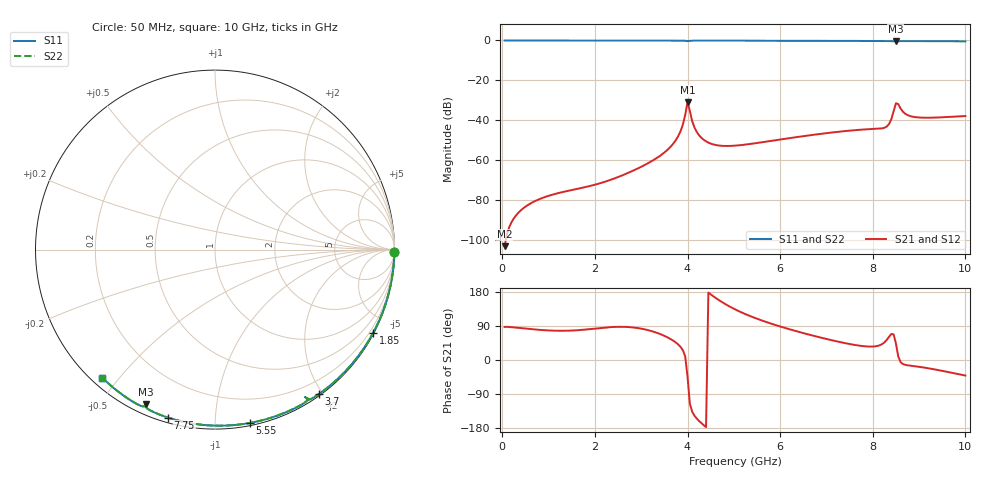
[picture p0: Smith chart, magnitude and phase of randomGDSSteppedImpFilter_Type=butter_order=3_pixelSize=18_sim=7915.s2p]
! freq	dB(S11)	phase(S11)	dB(S12)	phase(S12)
!  dB(S21)	phase(S21)	dB(S22)	phase(S22)
!S-par simulation data
#  GHz  S  DB  R 50
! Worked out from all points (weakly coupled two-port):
!   200 points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, 50 MHz to 10 GHz, reference 50 ohm
!   highest |S21| = -30.91 dB at 4 GHz (marker M1); lowest = -103.1 dB at 50 MHz (marker M2)
!   lowest |S11| = -0.5 dB at 8.5 GHz (marker M3), VSWR 35.44, Z = 2 - j32.4 ohm
!   |S11| at or under -10 dB: nowhere
!   |S22| runs from -0.5 to 0.0 dB; largest |S21 - S12| = 0
!   S11 on the Smith chart (normalised r, x): 50 MHz: open; 1.85 GHz: 0.04, -4.06; 3.7 GHz: 0.02, -1.95; 5.55 GHz: 0.02, -1.22; 7.75 GHz: 0.02, -0.76; 10 GHz: 0.03, -0.45
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0.05  -0.00 -0.7  -103.09 87.3  -103.09 87.3  -0.01 -0.7
0.75  -0.01 -11.3  -80.03 80.0  -80.03 80.0  -0.01 -11.3
1.75  -0.03 -26.2  -73.71 79.8  -73.71 79.8  -0.03 -26.2
1.85  -0.04 -27.7  -73.17 81.0  -73.17 81.0  -0.04 -27.7
2.6  -0.05 -38.6  -67.54 87.6  -67.54 87.6  -0.05 -38.6
3.4  -0.07 -50.0  -57.94 69.0  -57.94 69.0  -0.07 -50.0
3.7  -0.08 -54.2  -51.45 50.2  -51.45 50.2  -0.08 -54.2
3.9  -0.10 -57.3  -42.15 25.8  -42.15 25.8  -0.10 -57.3
4  -0.34 -58.6  -30.91 -44.2  -30.91 -44.2  -0.34 -58.6
4.15  -0.10 -59.8  -43.63 -147.0  -43.63 -147.0  -0.10 -59.8
4.3  -0.09 -62.0  -48.80 -166.7  -48.80 -166.7  -0.09 -62.0
4.65  -0.10 -66.8  -52.59 160.2  -52.59 160.2  -0.10 -66.8
5.05  -0.11 -72.1  -52.67 132.2  -52.67 132.2  -0.11 -72.1
5.55  -0.13 -78.6  -51.23 106.7  -51.23 106.7  -0.13 -78.6
6.7  -0.18 -93.0  -47.33 64.6  -47.33 64.6  -0.18 -93.0
7.75  -0.25 -105.6  -44.71 37.2  -44.71 37.2  -0.25 -105.6
8.2  -0.29 -111.0  -44.06 41.9  -44.06 41.9  -0.29 -111.0
8.35  -0.32 -112.9  -41.93 61.0  -41.93 61.0  -0.32 -112.9
8.5  -0.49 -114.1  -31.48 43.6  -31.48 43.6  -0.49 -114.1
8.7  -0.32 -116.2  -36.71 -12.7  -36.71 -12.7  -0.32 -116.2
8.85  -0.33 -118.1  -38.16 -15.4  -38.16 -15.4  -0.33 -118.1
10  -0.44 -131.3  -37.87 -41.0  -37.87 -41.0  -0.44 -131.3
